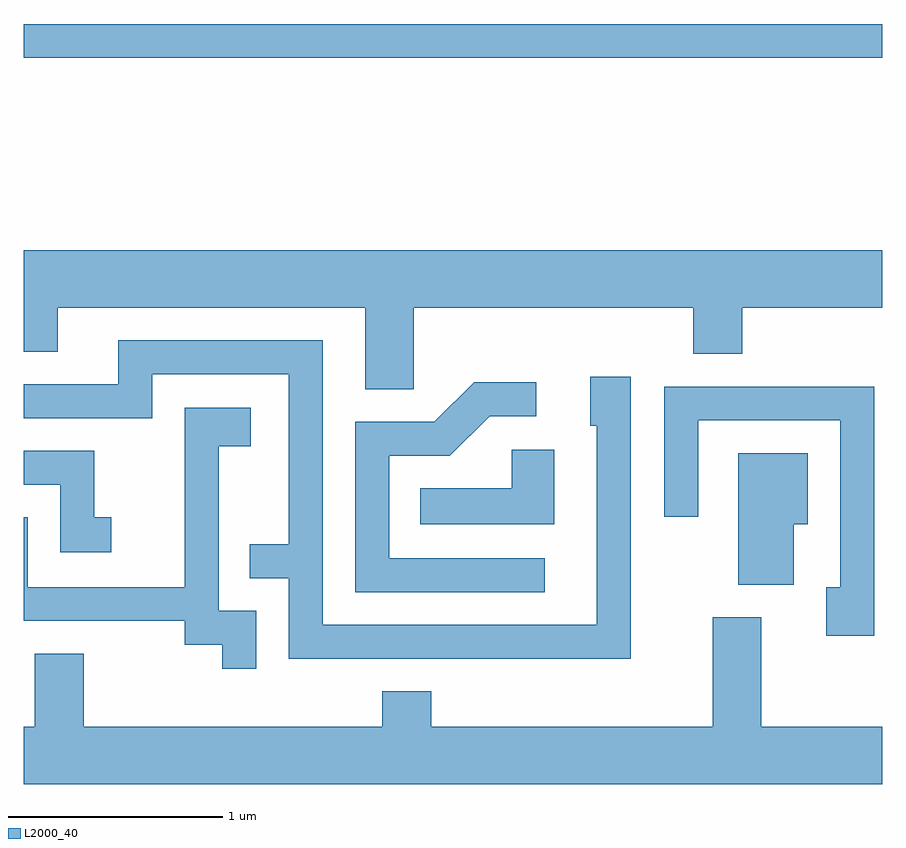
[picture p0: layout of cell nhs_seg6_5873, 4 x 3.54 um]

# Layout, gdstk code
import gdstk
lib = gdstk.Library(unit=1e-6, precision=1e-09)
def R(c, l, rs):  # rectangles x0, y0, x1, y1
    for r in rs: c.add(gdstk.rectangle(r[:2], r[2:], *l))
def P(c, l, *ps):  # polygons
    for p in ps: c.add(gdstk.Polygon(p, *l))
L2000_40 = (2000, 40)

nhs_seg6_5873 = lib.new_cell('nhs_seg6_5873')
R(nhs_seg6_5873, L2000_40, [(363.611,1597.821,367.611,1597.979)])
P(nhs_seg6_5873, L2000_40, [(365.429,1596.656),(366.731,1596.656),(366.731,1596.441),(366.959,1596.441),(366.959,1596.656),(367.611,1596.656),(367.611,1596.924),(363.611,1596.924),(363.611,1596.451),(363.769,1596.451),(363.769,1596.656),(365.201,1596.656),(365.201,1596.276),(365.429,1596.276)],
  [(366.439,1596.334),(366.251,1596.334),(366.251,1596.106),(366.281,1596.106),(366.281,1595.179),(365.004,1595.179),(365.004,1596.504),(364.051,1596.504),(364.051,1596.299),(363.611,1596.299),(363.611,1596.141),(364.209,1596.141),(364.209,1596.346),(364.846,1596.346),(364.846,1595.554),(364.663,1595.554),(364.663,1595.396),(364.846,1595.396),(364.846,1595.021),(366.439,1595.021)],
  [(366.038,1595.489),(365.314,1595.489),(365.314,1595.966),(365.597,1595.966),(365.782,1596.151),(365.998,1596.151),(365.998,1596.309),(365.709,1596.309),(365.524,1596.124),(365.156,1596.124),(365.156,1595.331),(366.038,1595.331)],
  [(367.574,1596.289),(366.596,1596.289),(366.596,1595.683),(366.754,1595.683),(366.754,1596.131),(367.416,1596.131),(367.416,1595.354),(367.351,1595.354),(367.351,1595.126),(367.574,1595.126)],
  [(364.694,1595.244),(364.519,1595.244),(364.519,1596.011),(364.669,1596.011),(364.669,1596.189),(364.361,1596.189),(364.361,1595.354),(363.629,1595.354),(363.629,1595.679),(363.611,1595.679),(363.611,1595.196),(364.361,1595.196),(364.361,1595.086),(364.536,1595.086),(364.536,1594.973),(364.694,1594.973)],
  [(366.084,1595.994),(365.886,1595.994),(365.886,1595.814),(365.458,1595.814),(365.458,1595.646),(366.084,1595.646)],
  [(364.018,1595.679),(363.939,1595.679),(363.939,1595.989),(363.611,1595.989),(363.611,1595.831),(363.781,1595.831),(363.781,1595.516),(364.018,1595.516)],
  [(367.199,1595.646),(367.264,1595.646),(367.264,1595.979),(366.941,1595.979),(366.941,1595.366),(367.199,1595.366)],
  [(367.611,1594.704),(367.049,1594.704),(367.049,1595.214),(366.821,1595.214),(366.821,1594.704),(365.509,1594.704),(365.509,1594.869),(365.281,1594.869),(365.281,1594.704),(363.889,1594.704),(363.889,1595.044),(363.661,1595.044),(363.661,1594.704),(363.611,1594.704),(363.611,1594.436),(367.611,1594.436)])

lib.write_gds('nhs_seg6_5873.gds')
